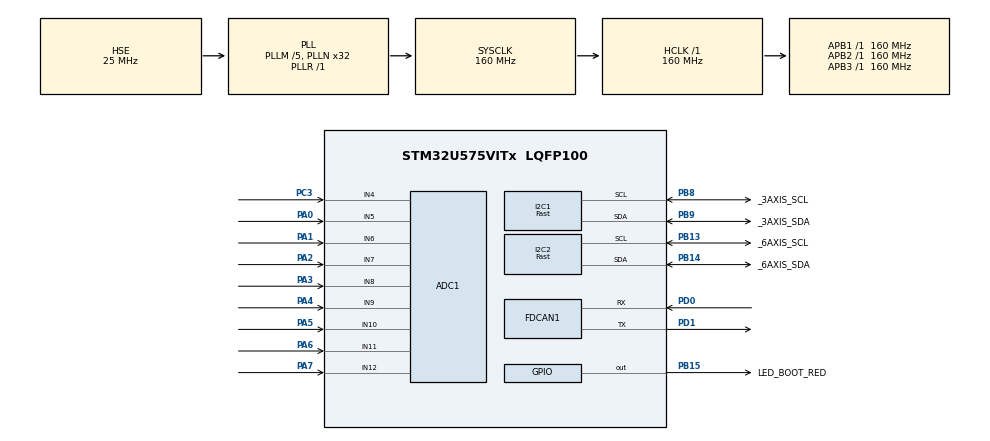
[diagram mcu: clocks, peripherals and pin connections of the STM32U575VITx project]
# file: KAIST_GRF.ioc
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ADC1.Channel-0\#ChannelRegularConversion=ADC_CHANNEL_4
ADC1.Channel-1\#ChannelRegularConversion=ADC_CHANNEL_5
ADC1.Channel-2\#ChannelRegularConversion=ADC_CHANNEL_6
ADC1.Channel-3\#ChannelRegularConversion=ADC_CHANNEL_7
ADC1.Channel-4\#ChannelRegularConversion=ADC_CHANNEL_8
ADC1.Channel-5\#ChannelRegularConversion=ADC_CHANNEL_9
ADC1.Channel-6\#ChannelRegularConversion=ADC_CHANNEL_10
ADC1.Channel-7\#ChannelRegularConversion=ADC_CHANNEL_11
ADC1.Channel-8\#ChannelRegularConversion=ADC_CHANNEL_12
ADC1.ContinuousConvMode=ENABLE
ADC1.ConversionDataManagement=ADC_CONVERSIONDATA_DMA_CIRCULAR
ADC1.EOCSelection=ADC_EOC_SEQ_CONV
ADC1.EnableRegularConversion=ENABLE
ADC1.MonitoredBy-0\#ChannelRegularConversion=__NULL
ADC1.MonitoredBy-1\#ChannelRegularConversion=__NULL
ADC1.MonitoredBy-2\#ChannelRegularConversion=__NULL
ADC1.MonitoredBy-3\#ChannelRegularConversion=__NULL
ADC1.MonitoredBy-4\#ChannelRegularConversion=__NULL
ADC1.MonitoredBy-5\#ChannelRegularConversion=__NULL
ADC1.MonitoredBy-6\#ChannelRegularConversion=__NULL
ADC1.MonitoredBy-7\#ChannelRegularConversion=__NULL
ADC1.MonitoredBy-8\#ChannelRegularConversion=__NULL
ADC1.NbrOfConversion=9
ADC1.NbrOfConversionFlag=1
ADC1.OffsetNumber-0\#ChannelRegularConversion=ADC_OFFSET_NONE
ADC1.OffsetNumber-1\#ChannelRegularConversion=ADC_OFFSET_NONE
ADC1.OffsetNumber-2\#ChannelRegularConversion=ADC_OFFSET_NONE
ADC1.OffsetNumber-3\#ChannelRegularConversion=ADC_OFFSET_NONE
ADC1.OffsetNumber-4\#ChannelRegularConversion=ADC_OFFSET_NONE
ADC1.OffsetNumber-5\#ChannelRegularConversion=ADC_OFFSET_NONE
ADC1.OffsetNumber-6\#ChannelRegularConversion=ADC_OFFSET_NONE
ADC1.OffsetNumber-7\#ChannelRegularConversion=ADC_OFFSET_NONE
ADC1.OffsetNumber-8\#ChannelRegularConversion=ADC_OFFSET_NONE
ADC1.Rank-0\#ChannelRegularConversion=1
ADC1.Rank-1\#ChannelRegularConversion=2
ADC1.Rank-2\#ChannelRegularConversion=3
ADC1.Rank-3\#ChannelRegularConversion=4
ADC1.Rank-4\#ChannelRegularConversion=5
ADC1.Rank-5\#ChannelRegularConversion=6
ADC1.Rank-6\#ChannelRegularConversion=7
ADC1.Rank-7\#ChannelRegularConversion=8
ADC1.Rank-8\#ChannelRegularConversion=9
ADC1.SamplingTime-0\#ChannelRegularConversion=ADC_SAMPLETIME_5CYCLE
ADC1.SamplingTime-1\#ChannelRegularConversion=ADC_SAMPLETIME_5CYCLE
ADC1.SamplingTime-2\#ChannelRegularConversion=ADC_SAMPLETIME_5CYCLE
ADC1.SamplingTime-3\#ChannelRegularConversion=ADC_SAMPLETIME_5CYCLE
ADC1.SamplingTime-4\#ChannelRegularConversion=ADC_SAMPLETIME_5CYCLE
ADC1.SamplingTime-5\#ChannelRegularConversion=ADC_SAMPLETIME_5CYCLE
ADC1.SamplingTime-6\#ChannelRegularConversion=ADC_SAMPLETIME_5CYCLE
ADC1.SamplingTime-7\#ChannelRegularConversion=ADC_SAMPLETIME_5CYCLE
ADC1.SamplingTime-8\#ChannelRegularConversion=ADC_SAMPLETIME_5CYCLE
ADC1.master=1
CORTEX_M33_NS.AccessPermission-Cortex_Memory_Protection_Unit_Region0_Settings=MPU_REGION_ALL_RW
CORTEX_M33_NS.AttributesIndex-Cortex_Memory_Protection_Unit_Region0_Settings=MPU_ATTRIBUTES_NUMBER1
CORTEX_M33_NS.BaseAddress-Cortex_Memory_Protection_Unit_Region0_Settings=0x28000000
CORTEX_M33_NS.CacheableAttribute-Cortex_Memory_Protection_Unit_Region0_Settings=MPU_NOT_CACHEABLE
CORTEX_M33_NS.DisableExec-Cortex_Memory_Protection_Unit_Region0_Settings=MPU_INSTRUCTION_ACCESS_DISABLE
CORTEX_M33_NS.Enable-Cortex_Memory_Protection_Unit_Region0_Settings=MPU_REGION_ENABLE
CORTEX_M33_NS.LimitAddress-Cortex_Memory_Protection_Unit_Region0_Settings=0x28002fff
CORTEX_M33_NS.MPU_Control=MPU_PRIVILEGED_DEFAULT
CORTEX_M33_NS.userName=CORTEX_M33
FDCAN1.AutoRetransmission=ENABLE
FDCAN1.CalculateBaudRateNominal=500000
FDCAN1.CalculateTimeBitNominal=2000
FDCAN1.CalculateTimeQuantumNominal=12.5
FDCAN1.DataSyncJumpWidth=4
FDCAN1.DataTimeSeg1=11
FDCAN1.DataTimeSeg2=4
FDCAN1.FrameFormat=FDCAN_FRAME_FD_BRS
FDCAN1.NominalPrescaler=1
FDCAN1.NominalSyncJumpWidth=32
FDCAN1.NominalTimeSeg1=127
FDCAN1.NominalTimeSeg2=32
FDCAN1.StdFiltersNbr=1
FDCAN1.TransmitPause=ENABLE
FDCAN1.TxFifoQueueMode=FDCAN_TX_QUEUE_OPERATION
FLASH.B1_BLOCK_active=true
FLASH.B1_endPage=7
FLASH.B2_BLOCK_active=true
FLASH.B2_Bank=FLASH_BANK_2
FLASH.B2_endPage=7
FLASH.OB_BOR_Level_active=false
FLASH.OB_Boot_Configuration_active_NS0=false
FLASH.OB_Boot_Configuration_active_NS1=false
FLASH.OB_RDPKEY_active=false
FLASH.OB_Read_Out_Protection_active=false
FLASH.OB_User_Configuration_active=false
FLASH.OB_Write_Protection1A_active=false
FLASH.OB_Write_Protection1B_active=false
FLASH.OB_Write_Protection2A_active=false
FLASH.OB_Write_Protection2B_active=false
FLASH.advanced_settings=false
GPDMA1.CIRCULARMODE_GPDMACH2=ENABLE
GPDMA1.DESTDATAWIDTH_GPDMACH2=DMA_DEST_DATAWIDTH_HALFWORD
GPDMA1.DESTINC_GPDMACH0=DMA_DINC_INCREMENTED
GPDMA1.DESTINC_GPDMACH1=DMA_DINC_INCREMENTED
GPDMA1.DESTINC_GPDMACH2=DMA_DINC_INCREMENTED
GPDMA1.IPHANDLE_GPDMACH0-SIMPLEREQUEST_GPDMACH0=__NULL
GPDMA1.IPHANDLE_GPDMACH1-SIMPLEREQUEST_GPDMACH1=__NULL
GPDMA1.IPHANDLE_GPDMACH2-SIMPLEREQUEST_GPDMACH2=__NULL
GPDMA1.LINKALLOCATEDPORT_CIRCULAR_GPDMACH2=DMA_LINK_ALLOCATED_PORT0
GPDMA1.REQUEST_GPDMACH0=GPDMA1_REQUEST_I2C1_RX
GPDMA1.REQUEST_GPDMACH1=GPDMA1_REQUEST_I2C2_RX
GPDMA1.REQUEST_GPDMACH2=GPDMA1_REQUEST_ADC1
GPDMA1.SRCDATAWIDTH_GPDMACH2=DMA_SRC_DATAWIDTH_HALFWORD
I2C1.I2C_Speed_Mode=I2C_Fast
I2C1.Timing=0x00F07BFF
I2C2.I2C_Speed_Mode=I2C_Fast
I2C2.Timing=0x00F07BFF
Mcu.Family=STM32U5
Mcu.Name=STM32U575VITx
Mcu.Package=LQFP100
NVIC.FDCAN1_IT0_IRQn=true\:1\:0\:true\:false\:true\:true\:true\:true
NVIC.FDCAN1_IT1_IRQn=true\:1\:0\:true\:false\:true\:true\:true\:true
NVIC.GPDMA1_Channel0_IRQn=true\:0\:0\:false\:false\:true\:false\:true\:true
NVIC.GPDMA1_Channel1_IRQn=true\:0\:0\:false\:false\:true\:false\:true\:true
NVIC.GPDMA1_Channel2_IRQn=true\:0\:0\:false\:false\:true\:false\:true\:true
NVIC.I2C1_EV_IRQn=true\:5\:0\:true\:false\:true\:true\:true\:true
NVIC.I2C2_EV_IRQn=true\:5\:0\:true\:false\:true\:true\:true\:true
NVIC.PriorityGroup=NVIC_PRIORITYGROUP_4
NVIC.TIM1_UP_IRQn=true\:1\:0\:true\:false\:true\:true\:true\:true
NVIC.TIM2_IRQn=true\:3\:0\:true\:false\:true\:true\:true\:true
NVIC.TIM3_IRQn=true\:2\:0\:true\:false\:true\:true\:true\:true
PA0.Mode=IN5-Single-Ended
PA0.Signal=ADC1_IN5
PA1.Mode=IN6-Single-Ended
PA1.Signal=ADC1_IN6
PA13\ (JTMS/SWDIO).Mode=Serial_Wire
PA13\ (JTMS/SWDIO).Signal=DEBUG_JTMS-SWDIO
PA14\ (JTCK/SWCLK).Mode=Serial_Wire
PA14\ (JTCK/SWCLK).Signal=DEBUG_JTCK-SWCLK
PA2.Mode=IN7-Single-Ended
PA2.Signal=ADC1_IN7
PA3.Mode=IN8-Single-Ended
PA3.Signal=ADC1_IN8
PA4.Mode=IN9-Single-Ended
PA4.Signal=ADC1_IN9
PA5.Mode=IN10-Single-Ended
PA5.Signal=ADC1_IN10
PA6.Mode=IN11-Single-Ended
PA6.Signal=ADC1_IN11
PA7.Mode=IN12-Single-Ended
PA7.Signal=ADC1_IN12
PB13.GPIO_Label=_6AXIS_SCL
PB13.Mode=I2C
PB13.Signal=I2C2_SCL
PB14.GPIO_Label=_6AXIS_SDA
PB14.Mode=I2C
PB14.Signal=I2C2_SDA
PB15.GPIO_Label=LED_BOOT_RED
PB15.Signal=GPIO_Output
PB8.GPIO_Label=_3AXIS_SCL
PB8.Mode=I2C
PB8.Signal=I2C1_SCL
PB9.GPIO_Label=_3AXIS_SDA
PB9.Mode=I2C
PB9.Signal=I2C1_SDA
PC14-OSC32_IN\ (PC14).Mode=LSE-External-Oscillator
PC14-OSC32_IN\ (PC14).Signal=RCC_OSC32_IN
PC15-OSC32_OUT\ (PC15).Mode=LSE-External-Oscillator
PC15-OSC32_OUT\ (PC15).Signal=RCC_OSC32_OUT
PC3.Mode=IN4-Single-Ended
PC3.Signal=ADC1_IN4
PD0.Mode=FDCAN_Activate
PD0.Signal=FDCAN1_RX
PD1.Mode=FDCAN_Activate
PD1.Signal=FDCAN1_TX
PH0-OSC_IN\ (PH0).Mode=HSE-External-Oscillator
PH0-OSC_IN\ (PH0).Signal=RCC_OSC_IN
PH1-OSC_OUT\ (PH1).Mode=HSE-External-Oscillator
PH1-OSC_OUT\ (PH1).Signal=RCC_OSC_OUT
ProjectManager.HeapSize=0x200
ProjectManager.StackSize=0x400
ProjectManager.TargetToolchain=STM32CubeIDE
RCC.ADCFreq_Value=16000000
RCC.AHBFreq_Value=160000000
RCC.APB1Freq_Value=160000000
RCC.APB1TimFreq_Value=160000000
RCC.APB2Freq_Value=160000000
RCC.APB2TimFreq_Value=160000000
RCC.APB3Freq_Value=160000000
RCC.CortexFreq_Value=160000000
RCC.EPOD_VALUE=25000000
RCC.HCLKFreq_Value=160000000
RCC.HSE_VALUE=25000000
RCC.HSI48_VALUE=48000000
RCC.HSI_VALUE=16000000
RCC.LSIDIV_VALUE=32000
RCC.MSIClockRange=RCC_MSIRANGE_0
RCC.MSI_VALUE=48000000
RCC.PLL1R=1
RCC.PLL2FRACN=0
RCC.PLL2Source=RCC_PLLSOURCE_HSE
RCC.PLL3FRACN=0
RCC.PLL3Source=RCC_PLLSOURCE_HSE
RCC.PLLFRACN=0
RCC.PLLM=5
RCC.PLLN=32
RCC.PLLSourceVirtual=RCC_PLLSOURCE_HSE
RCC.PWR_Regulator_Voltage_Scale=PWR_REGULATOR_VOLTAGE_SCALE1
RCC.SYSCLKFreq_VALUE=160000000
RCC.SYSCLKSource=RCC_SYSCLKSOURCE_PLLCLK
RCC.USBFreq_Value=48000000
RCC.VCOOutputFreq_Value=160000000
TIM1.PeriodNoDither=1000-1
TIM1.Prescaler=160-1
TIM2.PeriodNoDither=1000-1
TIM2.Prescaler=160-1
TIM3.AutoReloadPreload=TIM_AUTORELOAD_PRELOAD_DISABLE
TIM3.PeriodNoDither=1000-1
TIM3.Prescaler=160-1
VP_DCACHE1_VS_DCACHE.Mode=DCACHE_Activate
VP_FLASH_SIG_Activate_FlashIP.Mode=Activate_FlashIP
VP_GPDMA1_VS_GPDMACH0.Mode=SIMPLEREQUEST_GPDMACH0
VP_GPDMA1_VS_GPDMACH1.Mode=SIMPLEREQUEST_GPDMACH1
VP_GPDMA1_VS_GPDMACH2.Mode=SIMPLEREQUEST_GPDMACH2
VP_ICACHE_VS_ENABLE_ICACHE_MEMORY.Mode=Memoryregions
VP_ICACHE_VS_ICACHE.Mode=DirectMappedCache
VP_LPBAMQUEUE_VS_QUEUE.Mode=QUEUEMODE
VP_LPBAM_VS_SIG1.Mode=SmartRun
VP_LPBAM_VS_SIG4.Mode=LPDMA1
VP_MEMORYMAP_VS_MEMORYMAP.Mode=CurAppReg
VP_PWR_VS_SECSignals.Mode=Security/Privilege
VP_PWR_Vdda.Mode=isolationVdda
VP_TIM1_VS_ClockSourceINT.Mode=Internal
VP_TIM2_VS_ClockSourceINT.Mode=Internal
VP_TIM3_VS_ClockSourceINT.Mode=Internal
board=custom

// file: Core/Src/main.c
/* USER CODE BEGIN Header */
/**
  ******************************************************************************
  * @file           : main.c
  * @brief          : Main program body
  ******************************************************************************
  * @attention
  *
  * Copyright (c) 2024 STMicroelectronics.
  * All rights reserved.
  *
  * This software is licensed under terms that can be found in the LICENSE file
  * in the root directory of this software component.
  * If no LICENSE file comes with this software, it is provided AS-IS.
  *
  ******************************************************************************
  */
/* USER CODE END Header */
#include "main.h"
#include "adc.h"
#include "dcache.h"
#include "fdcan.h"
#include "flash.h"
#include "gpdma.h"
#include "i2c.h"
#include "icache.h"
#include "memorymap.h"
#include "tim.h"
#include "gpio.h"

/* USER CODE BEGIN Includes */
#include "gait_ctrl.h"
#include "grf_ctrl.h"
#include "msg_hdlr.h"
#include "module.h"
/* USER CODE END Includes */

/* USER CODE BEGIN PTD */
#define READ_FLASH_ARRAY_SIZE  32 	// 128 Byte Aligned
/* USER CODE END PTD */

void SystemClock_Config(void);
static void MPU_Config(void);
/* USER CODE BEGIN PFP */
void SaveProperties();
void DownloadProperties();
/* USER CODE END PFP */

int main(void)
{

  /* MCU Configuration--------------------------------------------------------*/

  /* Reset of all peripherals, Initializes the Flash interface and the Systick. */
  HAL_Init();

  /* MPU Configuration--------------------------------------------------------*/
  MPU_Config();

  /* Configure the system clock */
  SystemClock_Config();

  /* Initialize all configured peripherals */
  MX_GPIO_Init();
  MX_GPDMA1_Init();
  MX_DCACHE1_Init();
  MX_FDCAN1_Init();
  MX_I2C1_Init();
  MX_I2C2_Init();
  MX_ICACHE_Init();
  MX_TIM1_Init();
  MX_TIM2_Init();
  MX_TIM3_Init();
  MX_ADC1_Init();
  MX_FLASH_Init();
  /* USER CODE BEGIN 2 */

  DOP_CreateSDOTable();
  DOP_CreatePDOTable();

  // Init Indicator - BLUE LED //
  HAL_GPIO_WritePin(GPIOB, GPIO_PIN_15, GPIO_PIN_SET);

  // Bring the Flash Memory //
  DownloadProperties();

  MS_enum = IDLE;

  InitGrfCtrl();
//  InitGaitCtrl();
  InitMsgHdlr();

  /* USER CODE END 2 */

  /* Infinite loop */
  /* USER CODE BEGIN WHILE */
  while (1)
  {
	    if(MS_enum == IDLE)                         continue;
//	    else if(MS_enum == UPLOAD_PROPERTIES)       UploadProperties();
	    else if(MS_enum == SAVE_PROPERTIES)         SaveProperties();
	    else if(MS_enum == DOWNLOAD_PROPERTIES)     DownloadProperties();
//	    else if(MS_enum == ELECTRICAL_SYSTEM_ID)    Cal_Elec_System_ID_Batch();
//	    else if(MS_enum == BEMF_ID)                 Send_Elec_BEMF_Value();
//	    else if(MS_enum == CURRENT_BANDWIDTH_CHECK) Send_Elec_Bandwidth_Data();
//	    else if(MS_enum == AUTO_TUNING)             Tune_Gain();
//	    else if(MS_enum == ADV_FRICTION_ID)         Send_Advanced_Friction_ID_Data();
//	    else if(MS_enum == CAL_FRICTION_LUT)        Cal_Friction_LUT();
	    else                                        continue;
	    MS_enum = IDLE;
    /* USER CODE END WHILE */

  }
}

void SystemClock_Config(void)
{
  RCC_OscInitTypeDef RCC_OscInitStruct = {0};
  RCC_ClkInitTypeDef RCC_ClkInitStruct = {0};

  /** Configure the main internal regulator output voltage
  */
  if (HAL_PWREx_ControlVoltageScaling(PWR_REGULATOR_VOLTAGE_SCALE1) != HAL_OK)
  {
    Error_Handler();
  }

  /** Initializes the CPU, AHB and APB buses clocks
  */
  RCC_OscInitStruct.OscillatorType = RCC_OSCILLATORTYPE_HSI|RCC_OSCILLATORTYPE_HSE;
  RCC_OscInitStruct.HSEState = RCC_HSE_ON;
  RCC_OscInitStruct.HSIState = RCC_HSI_ON;
  RCC_OscInitStruct.HSICalibrationValue = RCC_HSICALIBRATION_DEFAULT;
  RCC_OscInitStruct.PLL.PLLState = RCC_PLL_ON;
  RCC_OscInitStruct.PLL.PLLSource = RCC_PLLSOURCE_HSE;
  RCC_OscInitStruct.PLL.PLLMBOOST = RCC_PLLMBOOST_DIV2;
  RCC_OscInitStruct.PLL.PLLM = 5;
  RCC_OscInitStruct.PLL.PLLN = 32;
  RCC_OscInitStruct.PLL.PLLP = 2;
  RCC_OscInitStruct.PLL.PLLQ = 2;
  RCC_OscInitStruct.PLL.PLLR = 1;
  RCC_OscInitStruct.PLL.PLLRGE = RCC_PLLVCIRANGE_0;
  RCC_OscInitStruct.PLL.PLLFRACN = 0;
  if (HAL_RCC_OscConfig(&RCC_OscInitStruct) != HAL_OK)
  {
    Error_Handler();
  }

  /** Initializes the CPU, AHB and APB buses clocks
  */
  RCC_ClkInitStruct.ClockType = RCC_CLOCKTYPE_HCLK|RCC_CLOCKTYPE_SYSCLK
                              |RCC_CLOCKTYPE_PCLK1|RCC_CLOCKTYPE_PCLK2
                              |RCC_CLOCKTYPE_PCLK3;
  RCC_ClkInitStruct.SYSCLKSource = RCC_SYSCLKSOURCE_PLLCLK;
  RCC_ClkInitStruct.AHBCLKDivider = RCC_SYSCLK_DIV1;
  RCC_ClkInitStruct.APB1CLKDivider = RCC_HCLK_DIV1;
  RCC_ClkInitStruct.APB2CLKDivider = RCC_HCLK_DIV1;
  RCC_ClkInitStruct.APB3CLKDivider = RCC_HCLK_DIV1;

  if (HAL_RCC_ClockConfig(&RCC_ClkInitStruct, FLASH_LATENCY_4) != HAL_OK)
  {
    Error_Handler();
  }
}

/* USER CODE BEGIN 4 */
void SaveProperties()
{
	uint32_t writeAddr = 0;
	int32_t memArr1[4] = {0};
	int32_t memArr2[4] = {0};
	int32_t memArr3[4] = {0};

	IOIF_EraseFlash(IOIF_FLASH_START_USER_ADDR, IOIF_ERASE_ONE_SECTOR);
	writeAddr = IOIF_FLASH_START_USER_ADDR;

	/* Set the offset */
#ifdef GRF_LEFT
	GrfDataObj.rawS2offset[0] = 200;
	GrfDataObj.rawS2offset[1] = -20;
	GrfDataObj.rawS2offset[2] = 40;

	GrfDataObj.rawS3offset[0] = 50;
	GrfDataObj.rawS3offset[1] = 80;
	GrfDataObj.rawS3offset[2] = 1230;

	GrfDataObj.rawS4offset[0] = 1234;
	GrfDataObj.rawS4offset[1] = -2392;
	GrfDataObj.rawS4offset[2] = -4321;
#endif
#ifdef GRF_RIGHT
	GrfDataObj.rawS2offset[0] = 0;
	GrfDataObj.rawS2offset[1] = 0;
	GrfDataObj.rawS2offset[2] = 0;

	GrfDataObj.rawS3offset[0] = 0;
	GrfDataObj.rawS3offset[1] = 0;
	GrfDataObj.rawS3offset[2] = 0;

	GrfDataObj.rawS3offset[0] = 0;
	GrfDataObj.rawS3offset[1] = 0;
	GrfDataObj.rawS3offset[2] = 0;
#endif

	/* Save Flash memory  */
	memcpy(&memArr1[0], &GrfDataObj.rawS2offset[0],     	   sizeof(GrfDataObj.rawS2offset[0]));
	memcpy(&memArr1[1], &GrfDataObj.rawS2offset[1],     	   sizeof(GrfDataObj.rawS2offset[1]));
	memcpy(&memArr1[2], &GrfDataObj.rawS2offset[2],     	   sizeof(GrfDataObj.rawS2offset[2]));
	memcpy(&memArr1[3], &GrfDataObj.rawS3offset[0],     	   sizeof(GrfDataObj.rawS3offset[0]));

	IOIF_WriteFlash(writeAddr, memArr1);
	writeAddr += 16;

	memcpy(&memArr2[0], &GrfDataObj.rawS3offset[1],     	   sizeof(GrfDataObj.rawS3offset[1]));
	memcpy(&memArr2[1], &GrfDataObj.rawS3offset[2],     	   sizeof(GrfDataObj.rawS3offset[2]));
	memcpy(&memArr2[2], &GrfDataObj.rawS4offset[0],     	   sizeof(GrfDataObj.rawS4offset[0]));
	memcpy(&memArr2[3], &GrfDataObj.rawS4offset[1],     	   sizeof(GrfDataObj.rawS4offset[1]));

	IOIF_WriteFlash(writeAddr, memArr2);
	writeAddr += 16;

	memcpy(&memArr3[0], &GrfDataObj.rawS4offset[2],     	   sizeof(GrfDataObj.rawS2offset[0]));

	IOIF_WriteFlash(writeAddr, memArr3);
	writeAddr += 16;

	return;
}

void DownloadProperties()
{
  uint32_t readAddr = IOIF_FLASH_START_USER_ADDR;

  /* Download Flash Memory */
  IOIF_ReadFlash(readAddr, &GrfDataObj.rawS2offset[0], 	  IOIF_FLASH_READ_SIZE_4B);  readAddr += IOIF_FLASH_READ_ADDR_SIZE_4B;
  IOIF_ReadFlash(readAddr, &GrfDataObj.rawS2offset[1],    IOIF_FLASH_READ_SIZE_4B);  readAddr += IOIF_FLASH_READ_ADDR_SIZE_4B;
  IOIF_ReadFlash(readAddr, &GrfDataObj.rawS2offset[2], 	  IOIF_FLASH_READ_SIZE_4B);  readAddr += IOIF_FLASH_READ_ADDR_SIZE_4B;
  IOIF_ReadFlash(readAddr, &GrfDataObj.rawS3offset[0], 	  IOIF_FLASH_READ_SIZE_4B);  readAddr += IOIF_FLASH_READ_ADDR_SIZE_4B;

  IOIF_ReadFlash(readAddr, &GrfDataObj.rawS3offset[1],    IOIF_FLASH_READ_SIZE_4B);  readAddr += IOIF_FLASH_READ_ADDR_SIZE_4B;
  IOIF_ReadFlash(readAddr, &GrfDataObj.rawS3offset[2], 	  IOIF_FLASH_READ_SIZE_4B);  readAddr += IOIF_FLASH_READ_ADDR_SIZE_4B;
  IOIF_ReadFlash(readAddr, &GrfDataObj.rawS4offset[0], 	  IOIF_FLASH_READ_SIZE_4B);  readAddr += IOIF_FLASH_READ_ADDR_SIZE_4B;
  IOIF_ReadFlash(readAddr, &GrfDataObj.rawS4offset[1],    IOIF_FLASH_READ_SIZE_4B);  readAddr += IOIF_FLASH_READ_ADDR_SIZE_4B;

  for(int i = 0; i < 500; ++i) {}

  IOIF_ReadFlash(readAddr, &GrfDataObj.rawS4offset[2],    IOIF_FLASH_READ_SIZE_4B);  readAddr += IOIF_FLASH_READ_ADDR_SIZE_4B;
}

/* USER CODE END 4 */

/* MPU Configuration */

void MPU_Config(void)
{
  MPU_Region_InitTypeDef MPU_InitStruct = {0};
  MPU_Attributes_InitTypeDef MPU_AttributesInit = {0};

  /* Disables the MPU */
  HAL_MPU_Disable();

  /** Initializes and configures the Region and the memory to be protected
  */
  MPU_InitStruct.Enable = MPU_REGION_ENABLE;
  MPU_InitStruct.Number = MPU_REGION_NUMBER0;
  MPU_InitStruct.BaseAddress = 0x28000000;
  MPU_InitStruct.LimitAddress = 0x28002fff;
  MPU_InitStruct.AttributesIndex = MPU_ATTRIBUTES_NUMBER1;
  MPU_InitStruct.AccessPermission = MPU_REGION_ALL_RW;
  MPU_InitStruct.DisableExec = MPU_INSTRUCTION_ACCESS_DISABLE;
  MPU_InitStruct.IsShareable = MPU_ACCESS_NOT_SHAREABLE;

  HAL_MPU_ConfigRegion(&MPU_InitStruct);
  MPU_AttributesInit.Number = MPU_REGION_NUMBER0;
  MPU_AttributesInit.Attributes = MPU_DEVICE_nGnRnE | MPU_NOT_CACHEABLE
                              | MPU_TRANSIENT | MPU_NO_ALLOCATE;

  HAL_MPU_ConfigMemoryAttributes(&MPU_AttributesInit);
  /* Enables the MPU */
  HAL_MPU_Enable(MPU_PRIVILEGED_DEFAULT);

}

void Error_Handler(void)
{
  __disable_irq();
  while (1)
  {
  }
}
